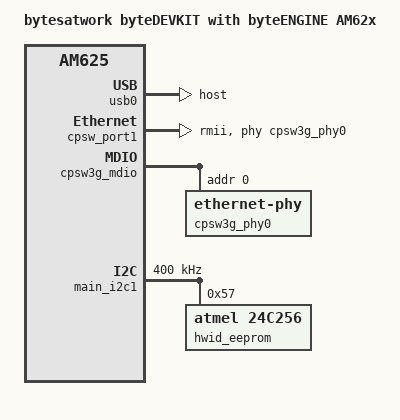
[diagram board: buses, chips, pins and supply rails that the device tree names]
// SPDX-License-Identifier: GPL-2.0
/*
 * Copyright (C) 2022 bytes at work AG - https://www.bytesatwork.io
 *
 * Based on k3-am625-sk.dts and k3-am62x-sk-common.dtsi
 * Copyright (C) 2021-2022 Texas Instruments Incorporated - https://www.ti.com/
 */

/dts-v1/;

#include "k3-am625-byteengine.dtsi"

/ {
	compatible =  "bytesatwork,bytedevkit-am62x", "bytesatwork,byteengine-am62x", "ti,am625";
	model = "bytesatwork byteDEVKIT with byteENGINE AM62x";

	aliases {
		serial2 = &main_uart0;
		mmc1 = &sdhci1;
		usb0 = &usb0;
	};

	chosen {
		stdout-path = "serial2:115200n8";
		bootargs = "console=ttyS2,115200n8 earlycon=ns16550a,mmio32,0x02800000";
	};
};

&main_pmx0 {
	main_uart0_pins_default: main-uart0-pins-default {
		pinctrl-single,pins = <
			AM62X_IOPAD(0x1c8, PIN_INPUT, 0) /* (D14) UART0_RXD */
			AM62X_IOPAD(0x1cc, PIN_OUTPUT, 0) /* (E14) UART0_TXD */
		>;
	};

	main_i2c1_pins_default: main-i2c1-pins-default {
		pinctrl-single,pins = <
			AM62X_IOPAD(0x1e8, PIN_INPUT_PULLUP, 0) /* (B17) I2C1_SCL */
			AM62X_IOPAD(0x1ec, PIN_INPUT_PULLUP, 0) /* (A17) I2C1_SDA */
		>;
	};

	main_mmc1_pins_default: main-mmc1-pins-default {
		pinctrl-single,pins = <
			AM62X_IOPAD(0x23c, PIN_INPUT, 0) /* (A21) MMC1_CMD */
			AM62X_IOPAD(0x234, PIN_INPUT, 0) /* (B22) MMC1_CLK */
			AM62X_IOPAD(0x230, PIN_INPUT, 0) /* (A22) MMC1_DAT0 */
			AM62X_IOPAD(0x22c, PIN_INPUT, 0) /* (B21) MMC1_DAT1 */
			AM62X_IOPAD(0x228, PIN_INPUT, 0) /* (C21) MMC1_DAT2 */
			AM62X_IOPAD(0x224, PIN_INPUT, 0) /* (D22) MMC1_DAT3 */
			AM62X_IOPAD(0x240, PIN_INPUT, 0) /* (D17) MMC1_SDCD */
		>;
	};

	main_mdio1_pins_default: main-mdio1-pins-default {
		pinctrl-single,pins = <
			AM62X_IOPAD(0x160, PIN_OUTPUT, 0) /* (AD24) MDIO0_MDC */
			AM62X_IOPAD(0x15c, PIN_INPUT, 0) /* (AB22) MDIO0_MDIO */
		>;
	};

	main_rmii1_pins_default: main-rmii1-pins-default {
		pinctrl-single,pins = <
			AM62X_IOPAD(0x14c, PIN_INPUT, 1) /* (AB17) RMII1_RD0 */
			AM62X_IOPAD(0x150, PIN_INPUT, 1) /* (AC17) RMII1_RD1 */
			AM62X_IOPAD(0x148, PIN_INPUT, 1) /* (AD17) RMII1_REF_CLK */
			AM62X_IOPAD(0x134, PIN_OUTPUT, 1) /* (AE20) RMII1_TD0 */
			AM62X_IOPAD(0x138, PIN_OUTPUT, 1) /* (AD20) RMII1_TD1 */
			AM62X_IOPAD(0x130, PIN_INPUT, 1) /* (AE19) RMII1_CRS_DV */
			AM62X_IOPAD(0x12c, PIN_OUTPUT, 1) /* (AD19) RMII1_TX_EN */
		>;
	};

	main_usb0_pins_default: main-usb0-pins-default {
		pinctrl-single,pins = <
			AM62X_IOPAD(0x0254, PIN_INPUT, 0) /* (C20) USB0_DRVVBUS */
		>;
	};
};

&main_uart0 {
	pinctrl-names = "default";
	pinctrl-0 = <&main_uart0_pins_default>;
};

&sdhci1 {
	/* SD/MMC */
	pinctrl-names = "default";
	pinctrl-0 = <&main_mmc1_pins_default>;
	ti,driver-strength-ohm = <50>;
	disable-wp;
};

&usb0 {
	dr_mode = "host";
	pinctrl-names = "default";
	pinctrl-0 = <&main_usb0_pins_default>;
};

&cpsw3g {
	pinctrl-names = "default";
	pinctrl-0 = <&main_mdio1_pins_default
		     &main_rmii1_pins_default>;
};

&cpsw_port1 {
	phy-mode = "rmii";
	phy-handle = <&cpsw3g_phy0>;
};

&cpsw_port2 {
	status = "disabled";
};

&cpsw3g_mdio {
	cpsw3g_phy0: ethernet-phy@0 {
		reg = <0>;
	};
};

&main_i2c1 {
	pinctrl-names = "default";
	pinctrl-0 = <&main_i2c1_pins_default>;
	clock-frequency = <400000>;

	hwid_eeprom: eeprom@57 {
		compatible = "atmel,24c256";
		reg = <0x57>;
	};
};
